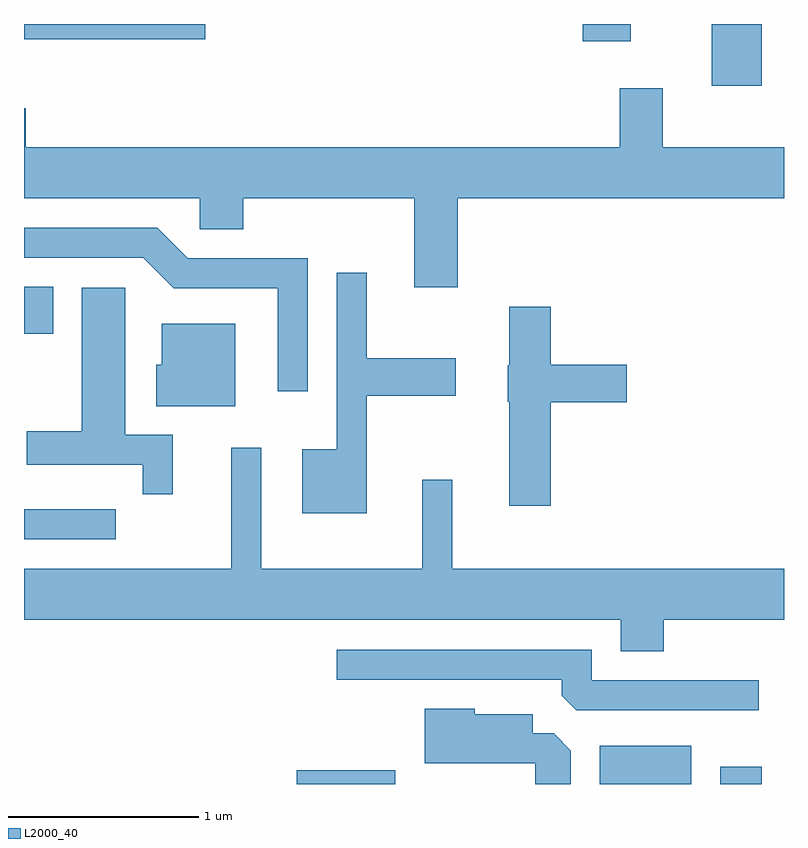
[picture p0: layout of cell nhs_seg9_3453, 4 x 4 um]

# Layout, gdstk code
import gdstk
lib = gdstk.Library(unit=1e-6, precision=1e-09)
def R(c, l, rs):  # rectangles x0, y0, x1, y1
    for r in rs: c.add(gdstk.rectangle(r[:2], r[2:], *l))
def P(c, l, *ps):  # polygons
    for p in ps: c.add(gdstk.Polygon(p, *l))
L2000_40 = (2000, 40)

nhs_seg9_3453 = lib.new_cell('nhs_seg9_3453')
R(nhs_seg9_3453, L2000_40, [(287.046,2066.432,287.564,2066.504), (288.641,2066.432,289.124,2066.634), (289.276,2066.432,289.494,2066.524), (285.611,2067.721,286.093,2067.879), (285.611,2068.801,285.764,2069.049), (289.231,2070.106,289.494,2070.432), (288.551,2070.341,288.804,2070.432), (285.611,2070.351,286.564,2070.432)])
P(nhs_seg9_3453, L2000_40, [(287.894,2069.516),(289.611,2069.516),(289.611,2069.784),(288.974,2069.784),(288.974,2070.094),(288.746,2070.094),(288.746,2069.784),(285.619,2069.784),(285.619,2069.989),(285.611,2069.989),(285.611,2069.516),(286.536,2069.516),(286.536,2069.351),(286.764,2069.351),(286.764,2069.516),(287.666,2069.516),(287.666,2069.046),(287.894,2069.046)],
  [(287.104,2069.199),(286.472,2069.199),(286.312,2069.359),(285.611,2069.359),(285.611,2069.201),(286.239,2069.201),(286.399,2069.041),(286.946,2069.041),(286.946,2068.498),(287.104,2068.498)],
  [(287.414,2068.476),(287.884,2068.476),(287.884,2068.674),(287.414,2068.674),(287.414,2069.123),(287.256,2069.123),(287.256,2068.194),(287.076,2068.194),(287.076,2067.856),(287.414,2067.856)],
  [(286.394,2068.269),(286.144,2068.269),(286.144,2069.044),(285.916,2069.044),(285.916,2068.289),(285.626,2068.289),(285.626,2068.111),(286.236,2068.111),(286.236,2067.958),(286.394,2067.958)],
  [(288.384,2068.441),(288.784,2068.441),(288.784,2068.639),(288.384,2068.639),(288.384,2068.944),(288.166,2068.944),(288.166,2068.635),(288.156,2068.635),(288.156,2068.445),(288.166,2068.445),(288.166,2067.896),(288.384,2067.896)],
  [(286.724,2068.854),(286.336,2068.854),(286.336,2068.639),(286.306,2068.639),(286.306,2068.421),(286.724,2068.421)],
  [(288.979,2067.296),(289.611,2067.296),(289.611,2067.564),(287.864,2067.564),(287.864,2068.033),(287.706,2068.033),(287.706,2067.564),(286.859,2067.564),(286.859,2068.202),(286.701,2068.202),(286.701,2067.564),(285.611,2067.564),(285.611,2067.296),(288.751,2067.296),(288.751,2067.131),(288.979,2067.131)],
  [(289.478,2066.979),(288.599,2066.979),(288.599,2067.139),(287.258,2067.139),(287.258,2066.981),(288.441,2066.981),(288.441,2066.896),(288.517,2066.821),(289.478,2066.821)],
  [(288.489,2066.608),(288.399,2066.699),(288.289,2066.699),(288.289,2066.799),(287.984,2066.799),(287.984,2066.829),(287.721,2066.829),(287.721,2066.541),(288.301,2066.541),(288.301,2066.432),(288.489,2066.432)])

lib.write_gds('nhs_seg9_3453.gds')
